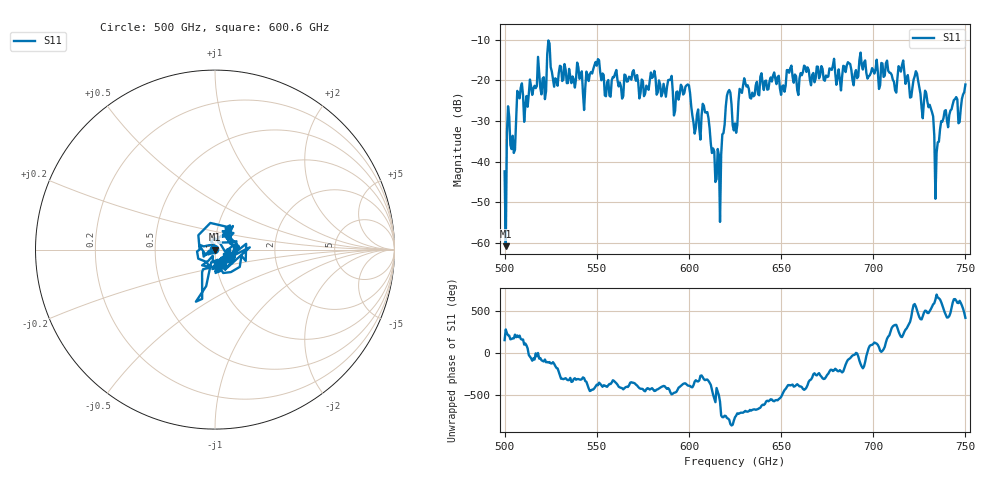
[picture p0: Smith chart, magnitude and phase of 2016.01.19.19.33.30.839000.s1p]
!Created with skrf (http://scikit-rf.org).
# GHz S RI R 50.0
!freq ReS11 ImS11
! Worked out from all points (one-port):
!   401 points, 500 GHz to 750 GHz, reference 50 ohm
!   lowest |S11| = -60.8 dB at 500.6 GHz (marker M1), VSWR 1.00, Z = 50 - j0.0889 ohm
!   |S11| at or under -10 dB: start of sweep to end of sweep
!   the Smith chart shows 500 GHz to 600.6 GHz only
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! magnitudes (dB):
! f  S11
! 500 GHz  -42.4
! 500.6 GHz  -60.8
! 502.5 GHz  -28.9
! 505 GHz  -37.9
! 508.1 GHz  -24.4
! 521.2 GHz  -19.2
! 524.4 GHz  -10.9
! 527.5 GHz  -19.5
! 531.2 GHz  -20.2
! 543.8 GHz  -21.9
! 550 GHz  -16.4
! 562.5 GHz  -20.5
! 580.6 GHz  -19.0
! 593.8 GHz  -22.7
! 599.4 GHz  -21.0
! 603.1 GHz  -33.1
! 608.8 GHz  -27.9
! 615.6 GHz  -36.9
! 621.2 GHz  -22.8
! 625 GHz  -30.6
! 630.6 GHz  -20.7
! 656.2 GHz  -19.2
! 687.5 GHz  -16.0
! 718.8 GHz  -18.7
! 729.4 GHz  -25.2
! 734.4 GHz  -37.8
! 738.1 GHz  -29.3
! 750 GHz  -21.0
